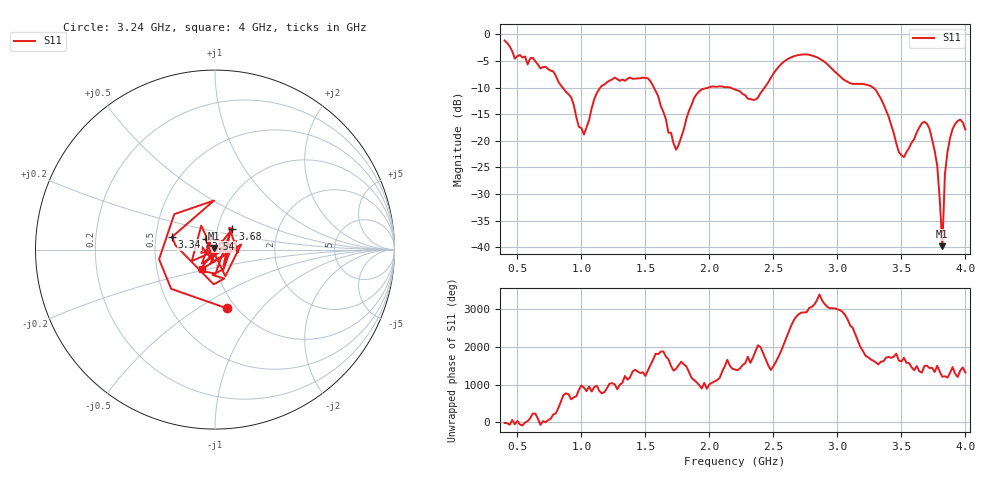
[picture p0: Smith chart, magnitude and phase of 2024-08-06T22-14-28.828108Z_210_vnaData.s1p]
!Created with skrf (http://scikit-rf.org).
# Hz S RI R 50.0
!freq ReS11 ImS11
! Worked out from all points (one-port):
!   181 points, 400 MHz to 4 GHz, reference 50 ohm
!   lowest |S11| = -39.8 dB at 3.82 GHz (marker M1), VSWR 1.02, Z = 49.4 + j0.827 ohm
!   |S11| at or under -10 dB: 854.2 MHz to 1.148 GHz (293.5 MHz wide, 29.3 % of centre); 1.567 GHz to 1.99 GHz (423.1 MHz wide, 23.8 % of centre); 3.28 GHz to end of sweep (the widest 3 of 4)
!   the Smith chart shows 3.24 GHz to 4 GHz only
!   S11 on the Smith chart (normalised r, x): 3.24 GHz: 0.91, -0.67; 3.34 GHz: 0.61, +0.09; 3.54 GHz: 0.90, +0.11; 3.68 GHz: 1.18, +0.28; 4 GHz: 0.85, -0.18
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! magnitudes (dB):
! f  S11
! 400 MHz  -1.1
! 480 MHz  -4.6
! 860 MHz  -10.2
! 1.02 GHz  -18.8
! 1.14 GHz  -10.2
! 1.3 GHz  -8.7
! 1.52 GHz  -8.3
! 1.74 GHz  -21.7
! 1.76 GHz  -20.7
! 1.92 GHz  -10.7
! 2.2 GHz  -10.3
! 2.36 GHz  -12.3
! 2.66 GHz  -4.1
! 2.86 GHz  -4.5
! 3.1 GHz  -9.2
! 3.24 GHz  -9.5
! 3.34 GHz  -12.1
! 3.48 GHz  -22.1
! 3.54 GHz  -22.1
! 3.56 GHz  -21.3
! 3.68 GHz  -16.4
! 3.72 GHz  -17.8
! 3.78 GHz  -24.7
! 3.82 GHz  -39.8
! 3.84 GHz  -26.3
! 3.88 GHz  -19.5
! 3.94 GHz  -16.3
! 4 GHz  -17.9
